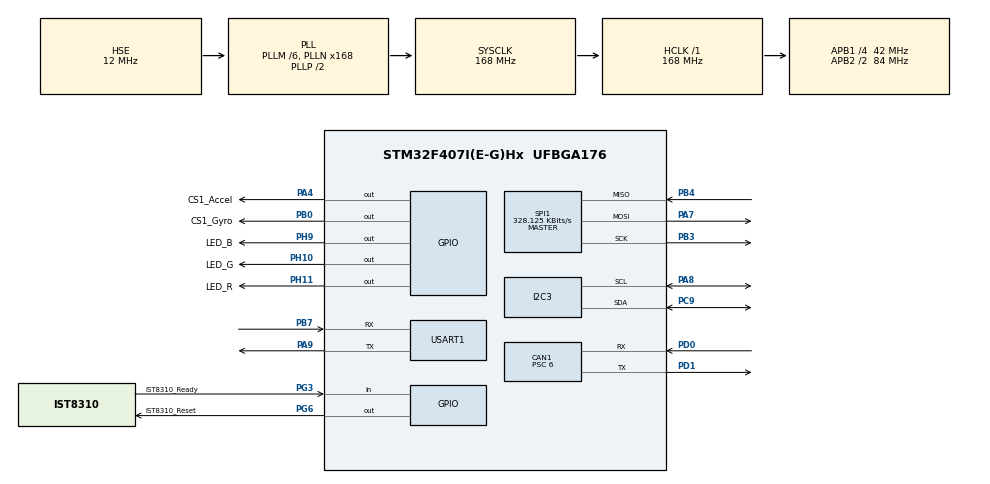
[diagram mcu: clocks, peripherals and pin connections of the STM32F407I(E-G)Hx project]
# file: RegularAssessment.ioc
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CAN1.ABOM=ENABLE
CAN1.BS1=CAN_BS1_4TQ
CAN1.BS2=CAN_BS2_2TQ
CAN1.CalculateBaudRate=1000000
CAN1.CalculateTimeBit=1000
CAN1.CalculateTimeQuantum=142.85714285714286
CAN1.Mode=CAN_MODE_NORMAL
CAN1.Prescaler=6
Dma.Request0=USART1_RX
Dma.Request1=USART1_TX
Dma.USART1_RX.0.Direction=DMA_PERIPH_TO_MEMORY
Dma.USART1_RX.0.FIFOMode=DMA_FIFOMODE_DISABLE
Dma.USART1_RX.0.Instance=DMA2_Stream2
Dma.USART1_RX.0.MemDataAlignment=DMA_MDATAALIGN_BYTE
Dma.USART1_RX.0.MemInc=DMA_MINC_ENABLE
Dma.USART1_RX.0.Mode=DMA_NORMAL
Dma.USART1_RX.0.PeriphDataAlignment=DMA_PDATAALIGN_BYTE
Dma.USART1_RX.0.PeriphInc=DMA_PINC_DISABLE
Dma.USART1_RX.0.Priority=DMA_PRIORITY_HIGH
Dma.USART1_TX.1.Direction=DMA_MEMORY_TO_PERIPH
Dma.USART1_TX.1.FIFOMode=DMA_FIFOMODE_DISABLE
Dma.USART1_TX.1.Instance=DMA2_Stream7
Dma.USART1_TX.1.MemDataAlignment=DMA_MDATAALIGN_BYTE
Dma.USART1_TX.1.MemInc=DMA_MINC_ENABLE
Dma.USART1_TX.1.Mode=DMA_NORMAL
Dma.USART1_TX.1.PeriphDataAlignment=DMA_PDATAALIGN_BYTE
Dma.USART1_TX.1.PeriphInc=DMA_PINC_DISABLE
Dma.USART1_TX.1.Priority=DMA_PRIORITY_HIGH
FREERTOS.Tasks01=defaultTask,24,128,StartDefaultTask,Default,NULL,Dynamic,NULL,NULL;IMU_Read,24,512,StartIMU_Read,Default,NULL,Dynamic,NULL,NULL;PIDInfo_Transmi,24,128,StartPIDInfo_Transmit,Default,NULL,Dynamic,NULL,NULL;PID_Control,25,128,StartPID_Control,Default,NULL,Dynamic,NULL,NULL
FREERTOS.configGENERATE_RUN_TIME_STATS=1
FREERTOS.configUSE_NEWLIB_REENTRANT=1
FREERTOS.configUSE_STATS_FORMATTING_FUNCTIONS=1
FREERTOS.copyHeapFile=1
I2C3.I2C_Mode=I2C_Fast
Mcu.Family=STM32F4
Mcu.Name=STM32F407I(E-G)Hx
Mcu.Package=UFBGA176
NVIC.CAN1_RX0_IRQn=true\:5\:0\:false\:false\:true\:true\:true\:true\:true
NVIC.CAN1_TX_IRQn=true\:5\:0\:false\:false\:true\:true\:true\:true\:true
NVIC.DMA2_Stream2_IRQn=true\:5\:0\:true\:false\:true\:true\:false\:true\:true
NVIC.DMA2_Stream7_IRQn=true\:5\:0\:false\:false\:true\:true\:false\:true\:true
NVIC.PriorityGroup=NVIC_PRIORITYGROUP_4
NVIC.RCC_IRQn=true\:5\:0\:false\:false\:true\:true\:true\:false\:true
NVIC.SPI1_IRQn=true\:5\:0\:false\:false\:true\:true\:true\:true\:true
NVIC.TIM7_IRQn=true\:15\:0\:false\:false\:true\:false\:false\:true\:true
NVIC.TimeBase=TIM7_IRQn
NVIC.TimeBaseIP=TIM7
NVIC.USART1_IRQn=true\:5\:0\:false\:false\:true\:true\:true\:true\:true
PA13.Mode=Serial_Wire
PA13.Signal=SYS_JTMS-SWDIO
PA14.Mode=Serial_Wire
PA14.Signal=SYS_JTCK-SWCLK
PA4.GPIO_Label=CS1_Accel
PA4.GPIO_PuPd=GPIO_PULLUP
PA4.GPIO_Speed=GPIO_SPEED_FREQ_VERY_HIGH
PA4.PinState=GPIO_PIN_RESET
PA4.Signal=GPIO_Output
PA7.Mode=Full_Duplex_Master
PA7.Signal=SPI1_MOSI
PA8.Mode=I2C
PA8.Signal=I2C3_SCL
PA9.Mode=Asynchronous
PA9.Signal=USART1_TX
PB0.GPIO_Label=CS1_Gyro
PB0.GPIO_PuPd=GPIO_PULLUP
PB0.GPIO_Speed=GPIO_SPEED_FREQ_VERY_HIGH
PB0.PinState=GPIO_PIN_RESET
PB0.Signal=GPIO_Output
PB3.Mode=Full_Duplex_Master
PB3.Signal=SPI1_SCK
PB4.Mode=Full_Duplex_Master
PB4.Signal=SPI1_MISO
PB7.Mode=Asynchronous
PB7.Signal=USART1_RX
PC14-OSC32_IN.Mode=LSE-External-Oscillator
PC14-OSC32_IN.Signal=RCC_OSC32_IN
PC15-OSC32_OUT.Mode=LSE-External-Oscillator
PC15-OSC32_OUT.Signal=RCC_OSC32_OUT
PC9.Mode=I2C
PC9.Signal=I2C3_SDA
PD0.Mode=CAN_Activate
PD0.Signal=CAN1_RX
PD1.Mode=CAN_Activate
PD1.Signal=CAN1_TX
PG3.GPIO_Label=IST8310_Ready
PG3.Signal=GPIO_Input
PG6.GPIO_Label=IST8310_Reset
PG6.GPIO_PuPd=GPIO_PULLUP
PG6.GPIO_Speed=GPIO_SPEED_FREQ_MEDIUM
PG6.PinState=GPIO_PIN_SET
PG6.Signal=GPIO_Output
PH0-OSC_IN.Mode=HSE-External-Oscillator
PH0-OSC_IN.Signal=RCC_OSC_IN
PH1-OSC_OUT.Mode=HSE-External-Oscillator
PH1-OSC_OUT.Signal=RCC_OSC_OUT
PH10.GPIO_Label=LED_G
PH10.Signal=GPIO_Output
PH11.GPIO_Label=LED_R
PH11.Signal=GPIO_Output
PH9.GPIO_Label=LED_B
PH9.Signal=GPIO_Output
ProjectManager.HeapSize=0x200
ProjectManager.StackSize=0x400
ProjectManager.TargetToolchain=STM32CubeIDE
RCC.48MHZClocksFreq_Value=84000000
RCC.AHBFreq_Value=168000000
RCC.APB1CLKDivider=RCC_HCLK_DIV4
RCC.APB1Freq_Value=42000000
RCC.APB1TimFreq_Value=84000000
RCC.APB2CLKDivider=RCC_HCLK_DIV2
RCC.APB2Freq_Value=84000000
RCC.APB2TimFreq_Value=168000000
RCC.CortexFreq_Value=168000000
RCC.HCLKFreq_Value=168000000
RCC.HSE_VALUE=12000000
RCC.HSI_VALUE=16000000
RCC.PLLM=6
RCC.PLLN=168
RCC.PLLSourceVirtual=RCC_PLLSOURCE_HSE
RCC.SYSCLKFreq_VALUE=168000000
RCC.SYSCLKSource=RCC_SYSCLKSOURCE_PLLCLK
RCC.VCOOutputFreq_Value=336000000
SPI1.BaudRatePrescaler=SPI_BAUDRATEPRESCALER_256
SPI1.CLKPhase=SPI_PHASE_2EDGE
SPI1.CalculateBaudRate=328.125 KBits/s
SPI1.Direction=SPI_DIRECTION_2LINES
SPI1.Mode=SPI_MODE_MASTER
SPI1.VirtualType=VM_MASTER
USART1.VirtualMode=VM_ASYNC
VP_FREERTOS_VS_CMSIS_V2.Mode=CMSIS_V2
VP_SYS_VS_tim7.Mode=TIM7
board=custom

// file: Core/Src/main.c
/* USER CODE BEGIN Header */
/**
 ******************************************************************************
 * @file           : main.c
 * @brief          : Main program body
 ******************************************************************************
 * @attention
 *
 * Copyright (c) 2024 STMicroelectronics.
 * All rights reserved.
 *
 * This software is licensed under terms that can be found in the LICENSE file
 * in the root directory of this software component.
 * If no LICENSE file comes with this software, it is provided AS-IS.
 *
 ******************************************************************************
 */
/* USER CODE END Header */
#include "main.h"
#include "cmsis_os.h"
#include "can.h"
#include "dma.h"
#include "i2c.h"
#include "spi.h"
#include "usart.h"
#include "gpio.h"

/* USER CODE BEGIN Includes */
#include "Imu.h"
#include "trcRecorder.h"
#include "SEGGER_RTT.h"
#include "Vofa.h"
#include "stdio.h"
#include "Motor.h"
#include "Pid.h"

/* USER CODE END Includes */

void SystemClock_Config(void);
void MX_FREERTOS_Init(void);

/* USER CODE BEGIN 0 */
Vofa_HandleTypedef vofa1;

/* USER CODE END 0 */

int main(void)
{
  /* USER CODE BEGIN 1 */
  // Vofa_HandleTypedef vofa1;

  /* USER CODE END 1 */

  /* MCU Configuration--------------------------------------------------------*/

  /* Reset of all peripherals, Initializes the Flash interface and the Systick. */
  HAL_Init();

  /* Configure the system clock */
  SystemClock_Config();

  /* Initialize all configured peripherals */
  MX_GPIO_Init();
  MX_DMA_Init();
  MX_I2C3_Init();
  MX_SPI1_Init();
  MX_CAN1_Init();
  MX_USART1_UART_Init();
  /* USER CODE BEGIN 2 */
  SEGGER_RTT_Init();                                                   // 初始化RTT
  IST8310_Init();                                                      // 初始化磁力计
  BMI088_Init();                                                       // 初始化IMU
  Motor_Can_Init();                                                    // 初始化电机相关Can配置
  PID_Init();                                                          // 初始化PID参数
  Vofa_Init(&vofa1, VOFA_MODE_SKIP);                                   // 初始化Vofa
  HAL_UARTEx_ReceiveToIdle_DMA(&huart1, rx_buffer, sizeof(rx_buffer)); // 使能DMA接收
  vTraceEnable(TRC_START);                                             // TraceAlyzer启动任务跟踪
  /* USER CODE END 2 */

  /* Init scheduler */
  osKernelInitialize();

  /* Call init function for freertos objects (in freertos.c) */
  MX_FREERTOS_Init();

  /* Start scheduler */
  osKernelStart();

  /* We should never get here as control is now taken by the scheduler */
  /* Infinite loop */
  while (1)
  {

  }
}

void SystemClock_Config(void)
{
  RCC_OscInitTypeDef RCC_OscInitStruct = {0};
  RCC_ClkInitTypeDef RCC_ClkInitStruct = {0};

  /** Configure the main internal regulator output voltage
  */
  __HAL_RCC_PWR_CLK_ENABLE();
  __HAL_PWR_VOLTAGESCALING_CONFIG(PWR_REGULATOR_VOLTAGE_SCALE1);

  /** Initializes the RCC Oscillators according to the specified parameters
  * in the RCC_OscInitTypeDef structure.
  */
  RCC_OscInitStruct.OscillatorType = RCC_OSCILLATORTYPE_HSE;
  RCC_OscInitStruct.HSEState = RCC_HSE_ON;
  RCC_OscInitStruct.PLL.PLLState = RCC_PLL_ON;
  RCC_OscInitStruct.PLL.PLLSource = RCC_PLLSOURCE_HSE;
  RCC_OscInitStruct.PLL.PLLM = 6;
  RCC_OscInitStruct.PLL.PLLN = 168;
  RCC_OscInitStruct.PLL.PLLP = RCC_PLLP_DIV2;
  RCC_OscInitStruct.PLL.PLLQ = 4;
  if (HAL_RCC_OscConfig(&RCC_OscInitStruct) != HAL_OK)
  {
    Error_Handler();
  }

  /** Initializes the CPU, AHB and APB buses clocks
  */
  RCC_ClkInitStruct.ClockType = RCC_CLOCKTYPE_HCLK|RCC_CLOCKTYPE_SYSCLK
                              |RCC_CLOCKTYPE_PCLK1|RCC_CLOCKTYPE_PCLK2;
  RCC_ClkInitStruct.SYSCLKSource = RCC_SYSCLKSOURCE_PLLCLK;
  RCC_ClkInitStruct.AHBCLKDivider = RCC_SYSCLK_DIV1;
  RCC_ClkInitStruct.APB1CLKDivider = RCC_HCLK_DIV4;
  RCC_ClkInitStruct.APB2CLKDivider = RCC_HCLK_DIV2;

  if (HAL_RCC_ClockConfig(&RCC_ClkInitStruct, FLASH_LATENCY_5) != HAL_OK)
  {
    Error_Handler();
  }
}

void HAL_TIM_PeriodElapsedCallback(TIM_HandleTypeDef *htim)
{
  if (htim->Instance == TIM7) {
    HAL_IncTick();
  }
}

void Error_Handler(void)
{
  __disable_irq();
  while (1)
  {
  }
}

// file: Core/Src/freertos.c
/* USER CODE BEGIN Header */
/**
 ******************************************************************************
 * File Name          : freertos.c
 * Description        : Code for freertos applications
 ******************************************************************************
 * @attention
 *
 * Copyright (c) 2024 STMicroelectronics.
 * All rights reserved.
 *
 * This software is licensed under terms that can be found in the LICENSE file
 * in the root directory of this software component.
 * If no LICENSE file comes with this software, it is provided AS-IS.
 *
 ******************************************************************************
 */
/* USER CODE END Header */

#include "FreeRTOS.h"
#include "task.h"
#include "main.h"
#include "cmsis_os.h"

/* USER CODE BEGIN Includes */
#include "imu.h"
#include "SEGGER_RTT.h"
#include "math.h"
#include "MahonyAHRS.h"
#include "semphr.h"
#include "usart.h"
#include "stdio.h"
#include "Motor.h"
#include "Vofa.h"
#include "Pid.h"
// #include "arm_math.h"
/* USER CODE END Includes */

/* Definitions for defaultTask */
osThreadId_t defaultTaskHandle;
const osThreadAttr_t defaultTask_attributes = {
    .name = "defaultTask",
    .stack_size = 128 * 4,
    .priority = (osPriority_t)osPriorityNormal,
};
/* Definitions for IMU_Read */
osThreadId_t IMU_ReadHandle;
const osThreadAttr_t IMU_Read_attributes = {
    .name = "IMU_Read",
    .stack_size = 512 * 4,
    .priority = (osPriority_t)osPriorityNormal,
};
/* Definitions for PIDInfo_Transmi */
osThreadId_t PIDInfo_TransmiHandle;
const osThreadAttr_t PIDInfo_Transmi_attributes = {
    .name = "PIDInfo_Transmi",
    .stack_size = 128 * 4,
    .priority = (osPriority_t)osPriorityNormal,
};
/* Definitions for PID_Control */
osThreadId_t PID_ControlHandle;
const osThreadAttr_t PID_Control_attributes = {
    .name = "PID_Control",
    .stack_size = 128 * 4,
    .priority = (osPriority_t)osPriorityNormal1,
};

void StartDefaultTask(void *argument);
void StartIMU_Read(void *argument);
void StartPIDInfo_Transmit(void *argument);
void StartPID_Control(void *argument);

void MX_FREERTOS_Init(void); /* (MISRA C 2004 rule 8.1) */

/* Hook prototypes */
void configureTimerForRunTimeStats(void);
unsigned long getRunTimeCounterValue(void);

/* USER CODE BEGIN 1 */
/* Functions needed when configGENERATE_RUN_TIME_STATS is on */
__weak void configureTimerForRunTimeStats(void)
{
}

__weak unsigned long getRunTimeCounterValue(void)
{
  return 0;
}
/* USER CODE END 1 */

void MX_FREERTOS_Init(void)
{

  /* Create the thread(s) */
  /* creation of defaultTask */
  defaultTaskHandle = osThreadNew(StartDefaultTask, NULL, &defaultTask_attributes);

  /* creation of IMU_Read */
  IMU_ReadHandle = osThreadNew(StartIMU_Read, NULL, &IMU_Read_attributes);

  /* creation of PIDInfo_Transmi */
  PIDInfo_TransmiHandle = osThreadNew(StartPIDInfo_Transmit, NULL, &PIDInfo_Transmi_attributes);

  /* creation of PID_Control */
  PID_ControlHandle = osThreadNew(StartPID_Control, NULL, &PID_Control_attributes);

}

void StartDefaultTask(void *argument)
{
  /* USER CODE BEGIN StartDefaultTask */
  /* Infinite loop */
  for (;;)
  {
    SEGGER_RTT_printf(0, "SEGGER_Test_ok !\n"); // ??RTT

    HAL_GPIO_TogglePin(LED_G_GPIO_Port, LED_G_Pin); // led??????????
    HAL_GPIO_TogglePin(LED_R_GPIO_Port, LED_R_Pin);
    HAL_GPIO_TogglePin(LED_B_GPIO_Port, LED_B_Pin);
    osDelay(1000);
  }
  /* USER CODE END StartDefaultTask */
}

void StartIMU_Read(void *argument)
{
  /* USER CODE BEGIN StartIMU_Read */
  /* Infinite loop */
  TickType_t xLastWakeTime;
  xLastWakeTime = xTaskGetTickCount(); // 获取当前时间
  for (;;)
  {
    IMU_ReadData(&imu_data);
    vTaskDelayUntil(&xLastWakeTime, 1); // 系统延时1ms
  }
  /* USER CODE END StartIMU_Read */
}

void StartPIDInfo_Transmit(void *argument)
{
  /* USER CODE BEGIN StartPIDInfo_Transmit */
  /* Infinite loop */
  static float temp[6];
  for (;;)
  {
    Vofa_HandleTypedef vofa1;
    temp[0] = motor_info[GIMBAL1].target_angle;
    temp[1] = motor_info[GIMBAL1].angle;
    temp[2] = motor_info[GIMBAL1].target_speed;
    temp[3] = motor_info[GIMBAL1].speed;
    temp[4] = motor_info[GIMBAL1].current;
    temp[5] = motor_info[GIMBAL1].temperature;

    Vofa_JustFloat(&vofa1, temp, sizeof(temp) / sizeof(temp[0]));
    osDelay(10);
  }
  /* USER CODE END StartPIDInfo_Transmit */
}

void StartPID_Control(void *argument)
{
  /* USER CODE BEGIN StartPID_Control */
  /* Infinite loop */
  static float t = 0;
  for (;;)
  {
    t += 0.005;

    /*角度环*/
    // motor_info[8].target_angle = 4000 + 4000 * sin(t * PI);
    // PosiPID(&PosiPID_Info[GIMBAL1], &motor_info[8]);
    // Gimbal_SendInfo(PosiPID_Info[0].Output, 0);

    /*速度环*/
    // motor_info[8].target_speed = 250 * sin(t * PI);
    // IncrPID(&IncrPID_Info[GIMBAL1], &motor_info[8]);
    // Gimbal_SendInfo(IncrPID_Info[GIMBAL1].Output, 0);

    osDelay(1);
  }
  /* USER CODE END StartPID_Control */
}
